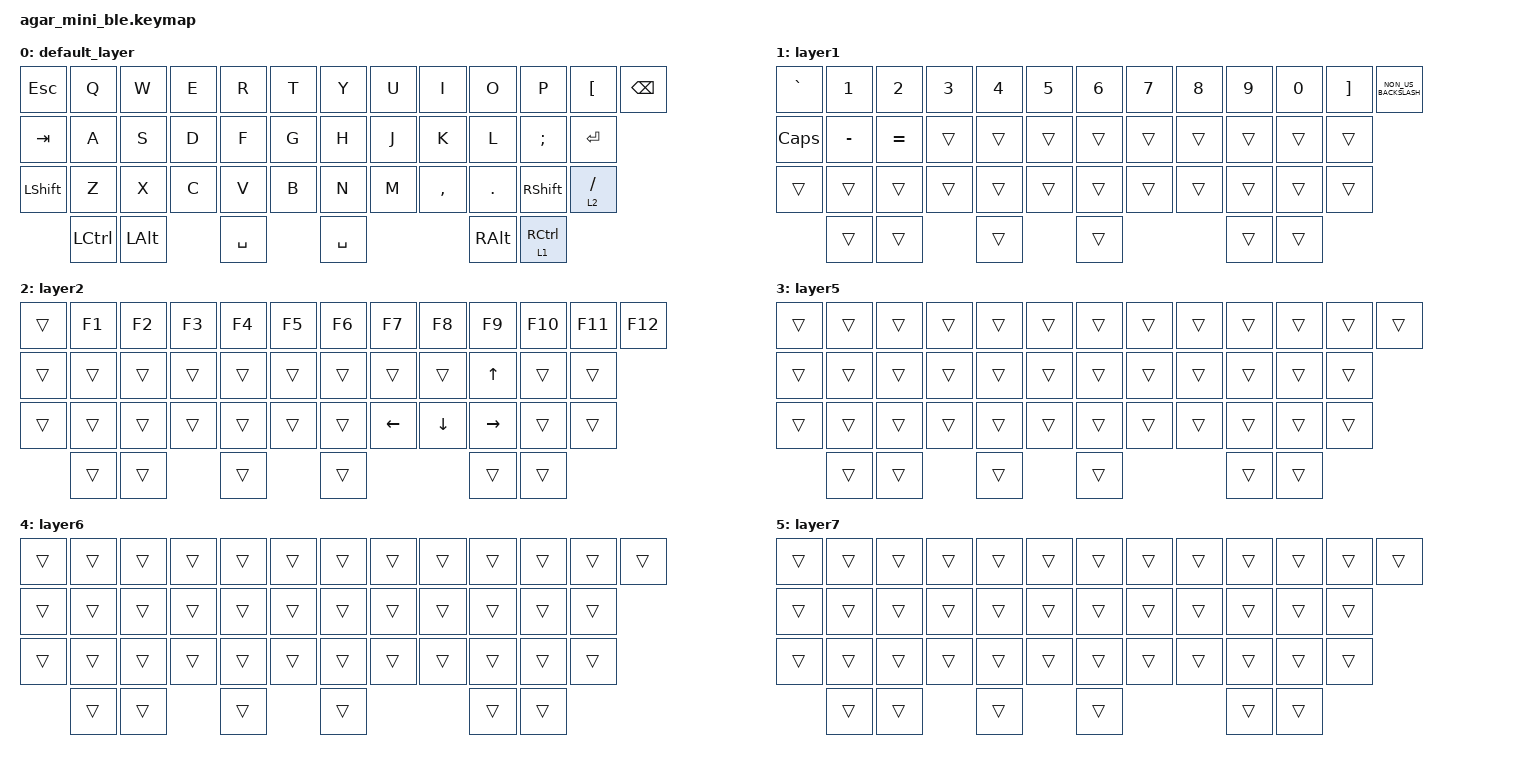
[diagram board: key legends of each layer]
/*
 * Copyright (c) 2021 The ZMK Contributors
 *
 * SPDX-License-Identifier: MIT
 */

#include "./boards/shields/klink_kbd/common.keymap"
#include <behaviors.dtsi>
#include <dt-bindings/zmk/keys.h>

/ {
    combos {
        compatible = "zmk,combos";

        EXC {
            bindings = <&kp EXCLAMATION>;
            key-positions = <0 1>;
            timeout-ms = <350>;
            layers = <0>;
        };

        ATS {
            bindings = <&kp AT_SIGN>;
            key-positions = <1 2>;
            timeout-ms = <350>;
            layers = <0>;
        };

        HAS {
            bindings = <&kp HASH>;
            key-positions = <2 3>;
            timeout-ms = <350>;
            layers = <0>;
        };

        DOL {
            bindings = <&kp DOLLAR>;
            key-positions = <3 4>;
            timeout-ms = <350>;
            layers = <0>;
        };

        PER {
            bindings = <&kp PERCENT>;
            key-positions = <4 5>;
            timeout-ms = <350>;
            layers = <0>;
        };

        CAR {
            bindings = <&kp CARET>;
            key-positions = <5 6>;
            timeout-ms = <350>;
            layers = <0>;
        };

        AMP {
            bindings = <&kp AMPERSAND>;
            key-positions = <6 7>;
            timeout-ms = <350>;
            layers = <0>;
        };

        AST {
            bindings = <&kp ASTERISK>;
            key-positions = <7 8>;
            timeout-ms = <350>;
            layers = <0>;
        };

        LPA {
            bindings = <&kp LEFT_PARENTHESIS>;
            key-positions = <8 9>;
            timeout-ms = <350>;
            layers = <0>;
        };

        RPA {
            bindings = <&kp RIGHT_PARENTHESIS>;
            key-positions = <9 10>;
            timeout-ms = <350>;
            layers = <0>;
        };

        USC {
            bindings = <&kp UNDERSCORE>;
            key-positions = <10 11>;
            timeout-ms = <350>;
            layers = <0>;
        };

        PLU {
            bindings = <&kp PLUS>;
            key-positions = <11 12>;
            timeout-ms = <350>;
            layers = <0>;
        };
    };

    keymap {
        compatible = "zmk,keymap";

        default_layer {
            bindings = <
&kp ESCAPE  &kp Q      &kp W     &kp E  &kp R      &kp T  &kp Y      &kp U  &kp I      &kp O          &kp P                &kp LEFT_BRACKET  &kp BSPC
&kp TAB     &kp A      &kp S     &kp D  &kp F      &kp G  &kp H      &kp J  &kp K      &kp L          &kp SEMI             &kp RET
&kp LSHFT   &kp Z      &kp X     &kp C  &kp V      &kp B  &kp N      &kp M  &kp COMMA  &kp DOT        &kp RSHIFT           &lt 2 SLASH
            &kp LCTRL  &kp LALT         &kp SPACE         &kp SPACE                    &kp RIGHT_ALT  &lt 1 RIGHT_CONTROL
            >;
        };

        layer1 {
            bindings = <
&kp GRAVE     &kp N1     &kp N2     &kp N3  &kp N4  &kp N5  &kp N6  &kp N7  &kp N8  &kp N9  &kp N0  &kp RIGHT_BRACKET  &kp NON_US_BACKSLASH
&kp CAPSLOCK  &kp MINUS  &kp EQUAL  &trans  &trans  &trans  &trans  &trans  &trans  &trans  &trans  &trans
&trans        &trans     &trans     &trans  &trans  &trans  &trans  &trans  &trans  &trans  &trans  &trans
              &trans     &trans             &trans          &trans                  &trans  &trans
            >;
        };

        layer2 {
            bindings = <
&trans  &kp F1  &kp F2  &kp F3  &kp F4  &kp F5  &kp F6  &kp F7          &kp F8          &kp F9           &kp F10  &kp F11  &kp F12
&trans  &trans  &trans  &trans  &trans  &trans  &trans  &trans          &trans          &kp UP_ARROW     &trans   &trans
&trans  &trans  &trans  &trans  &trans  &trans  &trans  &kp LEFT_ARROW  &kp DOWN_ARROW  &kp RIGHT_ARROW  &trans   &trans
        &trans  &trans          &trans          &trans                                  &trans           &trans
            >;
        };

        layer5 {
            bindings = <
&trans  &trans  &trans  &trans  &trans  &trans  &trans  &trans  &trans  &trans  &trans  &trans  &trans
&trans  &trans  &trans  &trans  &trans  &trans  &trans  &trans  &trans  &trans  &trans  &trans
&trans  &trans  &trans  &trans  &trans  &trans  &trans  &trans  &trans  &trans  &trans  &trans
        &trans  &trans          &trans          &trans                  &trans  &trans
            >;
        };

        layer6 {
            bindings = <
&trans  &trans  &trans  &trans  &trans  &trans  &trans  &trans  &trans  &trans  &trans  &trans  &trans
&trans  &trans  &trans  &trans  &trans  &trans  &trans  &trans  &trans  &trans  &trans  &trans
&trans  &trans  &trans  &trans  &trans  &trans  &trans  &trans  &trans  &trans  &trans  &trans
        &trans  &trans          &trans          &trans                  &trans  &trans
            >;
        };

        layer7 {
            bindings = <
&trans  &trans  &trans  &trans  &trans  &trans  &trans  &trans  &trans  &trans  &trans  &trans  &trans
&trans  &trans  &trans  &trans  &trans  &trans  &trans  &trans  &trans  &trans  &trans  &trans
&trans  &trans  &trans  &trans  &trans  &trans  &trans  &trans  &trans  &trans  &trans  &trans
        &trans  &trans          &trans          &trans                  &trans  &trans
            >;
        };
    };
};
